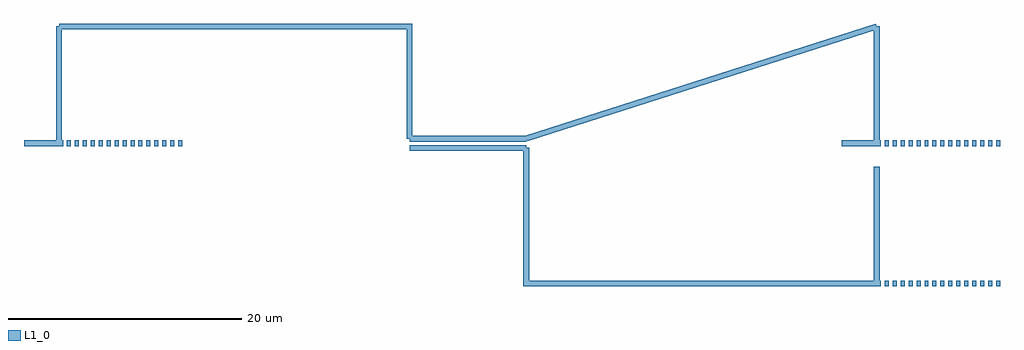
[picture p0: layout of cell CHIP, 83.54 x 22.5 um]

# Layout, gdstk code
import gdstk
lib = gdstk.Library(unit=1e-6, precision=1e-09)
def R(c, l, rs):  # rectangles x0, y0, x1, y1
    for r in rs: c.add(gdstk.rectangle(r[:2], r[2:], *l))
def A(c, l, x, y, w, h, nx, ny, dx, dy):  # array of equal rectangles
    R(c, l, [(x+i*dx, y+j*dy, x+i*dx+w, y+j*dy+h) for i in range(nx) for j in range(ny)])
L1_0 = (1, 0)

chip = lib.new_cell('CHIP')
A(chip, L1_0, 70, -12.25, 0.34, 0.5, 16, 2, 0.68, 12)
A(chip, L1_0, 0, -0.25, 0.34, 0.5, 16, 1, 0.68, 0)
chip.add(gdstk.FlexPath([(0,0),(0,10)], 0.5, ends="flush", simple_path=True, layer=1, datatype=0))  # L1_0
chip.add(gdstk.FlexPath([(70,0),(70,10)], 0.5, ends="flush", simple_path=True, layer=1, datatype=0))  # L1_0
chip.add(gdstk.FlexPath([(70,-12),(70,-2)], 0.5, ends="flush", simple_path=True, layer=1, datatype=0))  # L1_0
chip.add(gdstk.FlexPath([(30,0.4),(40,0.4)], 0.5, ends="flush", simple_path=True, layer=1, datatype=0))  # L1_0
chip.add(gdstk.FlexPath([(30,-0.4),(40,-0.4)], 0.5, ends="flush", simple_path=True, layer=1, datatype=0))  # L1_0
chip.add(gdstk.FlexPath([(0,10),(30,10),(30,0.4)], 0.5, ends="flush", simple_path=True, layer=1, datatype=0))  # L1_0
chip.add(gdstk.FlexPath([(40,0.4),(70,10),(70,10)], 0.5, ends="flush", simple_path=True, layer=1, datatype=0))  # L1_0
chip.add(gdstk.FlexPath([(40,-0.4),(40,-12),(70,-12),(70,-2)], 0.5, ends="flush", simple_path=True, layer=1, datatype=0))  # L1_0
chip.add(gdstk.FlexPath([(-3,0),(0,0)], 0.5, ends="flush", simple_path=True, layer=1, datatype=0))  # L1_0
chip.add(gdstk.FlexPath([(67,0),(70,0)], 0.5, ends="flush", simple_path=True, layer=1, datatype=0))  # L1_0
chip.add(gdstk.FlexPath([(67,-12),(70,-12)], 0.5, ends="flush", simple_path=True, layer=1, datatype=0))  # L1_0

lib.write_gds('CHIP.gds')
